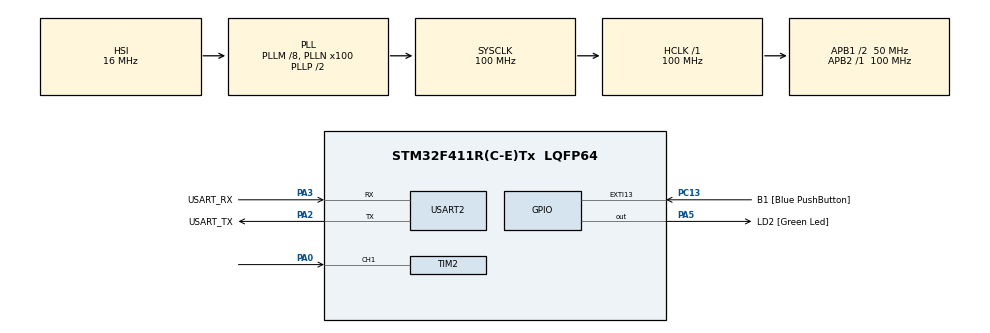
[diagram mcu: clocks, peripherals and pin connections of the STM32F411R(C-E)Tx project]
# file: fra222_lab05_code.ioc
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Dma.Request0=TIM2_CH1
Dma.TIM2_CH1.0.Direction=DMA_PERIPH_TO_MEMORY
Dma.TIM2_CH1.0.FIFOMode=DMA_FIFOMODE_DISABLE
Dma.TIM2_CH1.0.Instance=DMA1_Stream5
Dma.TIM2_CH1.0.MemDataAlignment=DMA_MDATAALIGN_WORD
Dma.TIM2_CH1.0.MemInc=DMA_MINC_ENABLE
Dma.TIM2_CH1.0.Mode=DMA_CIRCULAR
Dma.TIM2_CH1.0.PeriphDataAlignment=DMA_PDATAALIGN_WORD
Dma.TIM2_CH1.0.PeriphInc=DMA_PINC_DISABLE
Dma.TIM2_CH1.0.Priority=DMA_PRIORITY_LOW
Mcu.Family=STM32F4
Mcu.Name=STM32F411R(C-E)Tx
Mcu.Package=LQFP64
NVIC.DMA1_Stream5_IRQn=true\:0\:0\:false\:false\:true\:false\:true
NVIC.PriorityGroup=NVIC_PRIORITYGROUP_0
NVIC.TIM1_TRG_COM_TIM11_IRQn=true\:0\:0\:false\:false\:true\:true\:true
NVIC.TIM2_IRQn=true\:0\:0\:false\:false\:true\:true\:true
NVIC.TIM5_IRQn=true\:0\:0\:false\:false\:true\:true\:true
PA0-WKUP.Signal=S_TIM2_CH1_ETR
PA13.GPIO_Label=TMS
PA13.Mode=Serial_Wire
PA13.Signal=SYS_JTMS-SWDIO
PA14.GPIO_Label=TCK
PA14.Mode=Serial_Wire
PA14.Signal=SYS_JTCK-SWCLK
PA2.GPIO_Label=USART_TX
PA2.Mode=Asynchronous
PA2.Signal=USART2_TX
PA3.GPIO_Label=USART_RX
PA3.Mode=Asynchronous
PA3.Signal=USART2_RX
PA5.GPIO_Label=LD2 [Green Led]
PA5.Signal=GPIO_Output
PB3.GPIO_Label=SWO
PB3.Signal=SYS_JTDO-SWO
PC13-ANTI_TAMP.GPIO_Label=B1 [Blue PushButton]
PC13-ANTI_TAMP.GPIO_ModeDefaultEXTI=GPIO_MODE_IT_FALLING
PC13-ANTI_TAMP.Signal=GPXTI13
PC14-OSC32_IN.Mode=LSE-External-Oscillator
PC14-OSC32_IN.Signal=RCC_OSC32_IN
PC15-OSC32_OUT.Mode=LSE-External-Oscillator
PC15-OSC32_OUT.Signal=RCC_OSC32_OUT
PH0\ -\ OSC_IN.Mode=HSE-External-Clock-Source
PH0\ -\ OSC_IN.Signal=RCC_OSC_IN
PH1\ -\ OSC_OUT.Mode=HSE-External-Clock-Source
PH1\ -\ OSC_OUT.Signal=RCC_OSC_OUT
ProjectManager.HeapSize=0x200
ProjectManager.StackSize=0x400
ProjectManager.TargetToolchain=STM32CubeIDE
RCC.48MHZClocksFreq_Value=50000000
RCC.AHBFreq_Value=100000000
RCC.APB1CLKDivider=RCC_HCLK_DIV2
RCC.APB1Freq_Value=50000000
RCC.APB1TimFreq_Value=100000000
RCC.APB2Freq_Value=100000000
RCC.APB2TimFreq_Value=100000000
RCC.CortexFreq_Value=100000000
RCC.FLatency-AdvancedSettings=FLASH_LATENCY_3
RCC.HCLKFreq_Value=100000000
RCC.HSE_VALUE=8000000
RCC.HSI_VALUE=16000000
RCC.PLLM=8
RCC.PLLN=100
RCC.SYSCLKFreq_VALUE=100000000
RCC.SYSCLKSource=RCC_SYSCLKSOURCE_PLLCLK
RCC.VCOOutputFreq_Value=200000000
SH.S_TIM2_CH1_ETR.0=TIM2_CH1,Input_Capture1_from_TI1
TIM11.Prescaler=99
TIM2.Channel-Input_Capture1_from_TI1=TIM_CHANNEL_1
TIM2.Prescaler=99
TIM5.Prescaler=99
USART2.VirtualMode=VM_ASYNC
VP_TIM11_VS_ClockSourceINT.Mode=Enable_Timer
VP_TIM2_VS_ClockSourceINT.Mode=Internal
VP_TIM5_VS_ClockSourceINT.Mode=Internal
board=NUCLEO-F411RE

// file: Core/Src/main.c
/* USER CODE BEGIN Header */
/**
 ******************************************************************************
 * @file           : main.c
 * @brief          : Main program body
 ******************************************************************************
 * @attention
 *
 * <h2><center>&copy; Copyright (c) 2021 STMicroelectronics.
 * All rights reserved.</center></h2>
 *
 * This software component is licensed by ST under BSD 3-Clause license,
 * the "License"; You may not use this file except in compliance with the
 * License. You may obtain a copy of the License at:
 *                        opensource.org/licenses/BSD-3-Clause
 *
 ******************************************************************************
 */
/* USER CODE END Header */
#include "main.h"

/* USER CODE BEGIN PD */
#define CAPTURENUM 16

/* USER CODE END PD */

TIM_HandleTypeDef htim2;
TIM_HandleTypeDef htim5;
TIM_HandleTypeDef htim11;
DMA_HandleTypeDef hdma_tim2_ch1;

UART_HandleTypeDef huart2;

/* USER CODE BEGIN PV */

//12 P/R , Gear reduction 1 : 64
//DMA Buffer
uint32_t capturedata[CAPTURENUM] = { 0 };

//diff time of capture data
int64_t DiffTime[CAPTURENUM-1] = { 0 };

//Mean difftime
float MeanTime = 0;

//Mean speed (rpm)
float MeanRPM = 0;

//for microsecond measurement
uint64_t _micros = 0;

/* USER CODE END PV */

void SystemClock_Config(void);
static void MX_GPIO_Init(void);
static void MX_DMA_Init(void);
static void MX_USART2_UART_Init(void);
static void MX_TIM2_Init(void);
static void MX_TIM5_Init(void);
static void MX_TIM11_Init(void);
/* USER CODE BEGIN PFP */

//Read speed of encoder
void encoderSpeedReaderCycle();
uint64_t micros();

/* USER CODE END PFP */

int main(void)
{

  /* MCU Configuration--------------------------------------------------------*/

  /* Reset of all peripherals, Initializes the Flash interface and the Systick. */
  HAL_Init();

  /* Configure the system clock */
  SystemClock_Config();

  /* Initialize all configured peripherals */
  MX_GPIO_Init();
  MX_DMA_Init();
  MX_USART2_UART_Init();
  MX_TIM2_Init();
  MX_TIM5_Init();
  MX_TIM11_Init();
  /* USER CODE BEGIN 2 */

  	//start Microsecond timer
	HAL_TIM_Base_Start_IT(&htim5);
	_micros = 0;

	//start Input capture in DMA
	HAL_TIM_Base_Start(&htim2);
	HAL_TIM_IC_Start_DMA(&htim2, TIM_CHANNEL_1, (uint32_t*) &capturedata, CAPTURENUM);

	uint64_t timestamp = 0;

  /* USER CODE END 2 */

  /* Infinite loop */
  /* USER CODE BEGIN WHILE */
	while (1) {

		//read Time of encoder
		encoderSpeedReaderCycle();

		if(micros()-timestamp > 100000) //using period 2*100000us == 5Hz
		{
			timestamp = micros();
			HAL_GPIO_TogglePin(LD2_GPIO_Port,LD2_Pin);
		}

    /* USER CODE END WHILE */

	}
}

void SystemClock_Config(void)
{
  RCC_OscInitTypeDef RCC_OscInitStruct = {0};
  RCC_ClkInitTypeDef RCC_ClkInitStruct = {0};

  /** Configure the main internal regulator output voltage
  */
  __HAL_RCC_PWR_CLK_ENABLE();
  __HAL_PWR_VOLTAGESCALING_CONFIG(PWR_REGULATOR_VOLTAGE_SCALE1);
  /** Initializes the RCC Oscillators according to the specified parameters
  * in the RCC_OscInitTypeDef structure.
  */
  RCC_OscInitStruct.OscillatorType = RCC_OSCILLATORTYPE_HSI;
  RCC_OscInitStruct.HSIState = RCC_HSI_ON;
  RCC_OscInitStruct.HSICalibrationValue = RCC_HSICALIBRATION_DEFAULT;
  RCC_OscInitStruct.PLL.PLLState = RCC_PLL_ON;
  RCC_OscInitStruct.PLL.PLLSource = RCC_PLLSOURCE_HSI;
  RCC_OscInitStruct.PLL.PLLM = 8;
  RCC_OscInitStruct.PLL.PLLN = 100;
  RCC_OscInitStruct.PLL.PLLP = RCC_PLLP_DIV2;
  RCC_OscInitStruct.PLL.PLLQ = 4;
  if (HAL_RCC_OscConfig(&RCC_OscInitStruct) != HAL_OK)
  {
    Error_Handler();
  }
  /** Initializes the CPU, AHB and APB buses clocks
  */
  RCC_ClkInitStruct.ClockType = RCC_CLOCKTYPE_HCLK|RCC_CLOCKTYPE_SYSCLK
                              |RCC_CLOCKTYPE_PCLK1|RCC_CLOCKTYPE_PCLK2;
  RCC_ClkInitStruct.SYSCLKSource = RCC_SYSCLKSOURCE_PLLCLK;
  RCC_ClkInitStruct.AHBCLKDivider = RCC_SYSCLK_DIV1;
  RCC_ClkInitStruct.APB1CLKDivider = RCC_HCLK_DIV2;
  RCC_ClkInitStruct.APB2CLKDivider = RCC_HCLK_DIV1;

  if (HAL_RCC_ClockConfig(&RCC_ClkInitStruct, FLASH_LATENCY_3) != HAL_OK)
  {
    Error_Handler();
  }
}

static void MX_TIM2_Init(void)
{

  TIM_ClockConfigTypeDef sClockSourceConfig = {0};
  TIM_MasterConfigTypeDef sMasterConfig = {0};
  TIM_IC_InitTypeDef sConfigIC = {0};

  htim2.Instance = TIM2;
  htim2.Init.Prescaler = 99;
  htim2.Init.CounterMode = TIM_COUNTERMODE_UP;
  htim2.Init.Period = 4294967295;
  htim2.Init.ClockDivision = TIM_CLOCKDIVISION_DIV1;
  htim2.Init.AutoReloadPreload = TIM_AUTORELOAD_PRELOAD_DISABLE;
  if (HAL_TIM_Base_Init(&htim2) != HAL_OK)
  {
    Error_Handler();
  }
  sClockSourceConfig.ClockSource = TIM_CLOCKSOURCE_INTERNAL;
  if (HAL_TIM_ConfigClockSource(&htim2, &sClockSourceConfig) != HAL_OK)
  {
    Error_Handler();
  }
  if (HAL_TIM_IC_Init(&htim2) != HAL_OK)
  {
    Error_Handler();
  }
  sMasterConfig.MasterOutputTrigger = TIM_TRGO_RESET;
  sMasterConfig.MasterSlaveMode = TIM_MASTERSLAVEMODE_DISABLE;
  if (HAL_TIMEx_MasterConfigSynchronization(&htim2, &sMasterConfig) != HAL_OK)
  {
    Error_Handler();
  }
  sConfigIC.ICPolarity = TIM_INPUTCHANNELPOLARITY_RISING;
  sConfigIC.ICSelection = TIM_ICSELECTION_DIRECTTI;
  sConfigIC.ICPrescaler = TIM_ICPSC_DIV1;
  sConfigIC.ICFilter = 0;
  if (HAL_TIM_IC_ConfigChannel(&htim2, &sConfigIC, TIM_CHANNEL_1) != HAL_OK)
  {
    Error_Handler();
  }

}

static void MX_TIM5_Init(void)
{

  TIM_ClockConfigTypeDef sClockSourceConfig = {0};
  TIM_MasterConfigTypeDef sMasterConfig = {0};

  htim5.Instance = TIM5;
  htim5.Init.Prescaler = 99;
  htim5.Init.CounterMode = TIM_COUNTERMODE_UP;
  htim5.Init.Period = 4294967295;
  htim5.Init.ClockDivision = TIM_CLOCKDIVISION_DIV1;
  htim5.Init.AutoReloadPreload = TIM_AUTORELOAD_PRELOAD_DISABLE;
  if (HAL_TIM_Base_Init(&htim5) != HAL_OK)
  {
    Error_Handler();
  }
  sClockSourceConfig.ClockSource = TIM_CLOCKSOURCE_INTERNAL;
  if (HAL_TIM_ConfigClockSource(&htim5, &sClockSourceConfig) != HAL_OK)
  {
    Error_Handler();
  }
  sMasterConfig.MasterOutputTrigger = TIM_TRGO_RESET;
  sMasterConfig.MasterSlaveMode = TIM_MASTERSLAVEMODE_DISABLE;
  if (HAL_TIMEx_MasterConfigSynchronization(&htim5, &sMasterConfig) != HAL_OK)
  {
    Error_Handler();
  }

}

static void MX_TIM11_Init(void)
{

  htim11.Instance = TIM11;
  htim11.Init.Prescaler = 99;
  htim11.Init.CounterMode = TIM_COUNTERMODE_UP;
  htim11.Init.Period = 65535;
  htim11.Init.ClockDivision = TIM_CLOCKDIVISION_DIV1;
  htim11.Init.AutoReloadPreload = TIM_AUTORELOAD_PRELOAD_DISABLE;
  if (HAL_TIM_Base_Init(&htim11) != HAL_OK)
  {
    Error_Handler();
  }

}

static void MX_USART2_UART_Init(void)
{

  huart2.Instance = USART2;
  huart2.Init.BaudRate = 115200;
  huart2.Init.WordLength = UART_WORDLENGTH_8B;
  huart2.Init.StopBits = UART_STOPBITS_1;
  huart2.Init.Parity = UART_PARITY_NONE;
  huart2.Init.Mode = UART_MODE_TX_RX;
  huart2.Init.HwFlowCtl = UART_HWCONTROL_NONE;
  huart2.Init.OverSampling = UART_OVERSAMPLING_16;
  if (HAL_UART_Init(&huart2) != HAL_OK)
  {
    Error_Handler();
  }

}

static void MX_DMA_Init(void)
{

  /* DMA controller clock enable */
  __HAL_RCC_DMA1_CLK_ENABLE();

  /* DMA interrupt init */
  /* DMA1_Stream5_IRQn interrupt configuration */
  HAL_NVIC_SetPriority(DMA1_Stream5_IRQn, 0, 0);
  HAL_NVIC_EnableIRQ(DMA1_Stream5_IRQn);

}

static void MX_GPIO_Init(void)
{
  GPIO_InitTypeDef GPIO_InitStruct = {0};

  /* GPIO Ports Clock Enable */
  __HAL_RCC_GPIOC_CLK_ENABLE();
  __HAL_RCC_GPIOH_CLK_ENABLE();
  __HAL_RCC_GPIOA_CLK_ENABLE();
  __HAL_RCC_GPIOB_CLK_ENABLE();

  /*Configure GPIO pin Output Level */
  HAL_GPIO_WritePin(LD2_GPIO_Port, LD2_Pin, GPIO_PIN_RESET);

  /*Configure GPIO pin : B1_Pin */
  GPIO_InitStruct.Pin = B1_Pin;
  GPIO_InitStruct.Mode = GPIO_MODE_IT_FALLING;
  GPIO_InitStruct.Pull = GPIO_NOPULL;
  HAL_GPIO_Init(B1_GPIO_Port, &GPIO_InitStruct);

  /*Configure GPIO pin : LD2_Pin */
  GPIO_InitStruct.Pin = LD2_Pin;
  GPIO_InitStruct.Mode = GPIO_MODE_OUTPUT_PP;
  GPIO_InitStruct.Pull = GPIO_NOPULL;
  GPIO_InitStruct.Speed = GPIO_SPEED_FREQ_LOW;
  HAL_GPIO_Init(LD2_GPIO_Port, &GPIO_InitStruct);

}

/* USER CODE BEGIN 4 */

void encoderSpeedReaderCycle() {
	//get DMA Position form number of data
	uint32_t CapPos = CAPTURENUM - __HAL_DMA_GET_COUNTER(htim2.hdma[TIM_DMA_ID_CC1]);
	uint64_t sum = 0;

	//calculate diff from all buffer
	for(register int i=0; i < CAPTURENUM-1; i++)
	{
		DiffTime[i]  = capturedata[(CapPos+1+i)%CAPTURENUM] - capturedata[(CapPos+i)%CAPTURENUM];
		//time never go back, but timer can over flow , conpensate that
		if (DiffTime[i] < 0)
		{
			DiffTime[i] += 4294967295;
		}
		//sum all 15 Diff
		sum += DiffTime[i];
	}

	//mean all 15 Diff
	MeanTime = sum / (float)(CAPTURENUM-1); // n timer period / 1 pulse

	MeanRPM = 1.0/MeanTime /12.0 /64.0 *1000000.0 *60.0; // 12pulse/rev and gear ratio 64 and 1MHz/s and 60s/min => RPM
}

uint64_t micros()
{
	return _micros + htim5.Instance->CNT;
}
void HAL_TIM_PeriodElapsedCallback(TIM_HandleTypeDef *htim)
{
	if(htim == &htim5)
	{
		_micros += 4294967295;
	}
}

/* USER CODE END 4 */

void Error_Handler(void)
{
	__disable_irq();
	while (1) {
	}
}

/************************ (C) COPYRIGHT STMicroelectronics *****END OF FILE****/
